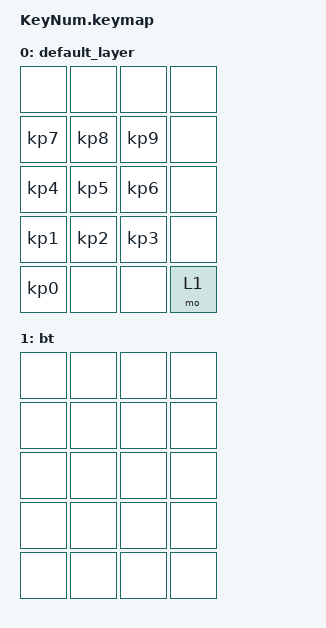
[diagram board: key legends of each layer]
#include <behaviors.dtsi>
#include <dt-bindings/zmk/keys.h>
#include <dt-bindings/zmk/bt.h>

/ {
    keymap {
        compatible = "zmk,keymap";

        // 'bindings' deve estar diretamente dentro de 'keymap'
        bindings = <&default_layer &bt_layer>; 

        default_layer: default_layer {
            bindings = <
                &none        &none        &none        &none
                &kp KP_N7    &kp KP_N8    &kp KP_N9    &none
                &kp KP_N4    &kp KP_N5    &kp KP_N6    &none
                &kp KP_N1    &kp KP_N2    &kp KP_N3    &none
                &kp KP_N0    &none        &none        &mo 1
            >;
        };

        bt_layer: bt {
            bindings = <
                &none  &none  &none  &none
                &none  &none  &none  &none
                &none  &none  &none  &none
                &none  &none  &none  &none
                &none  &none  &none  &none
            >;
        };
    };
};
